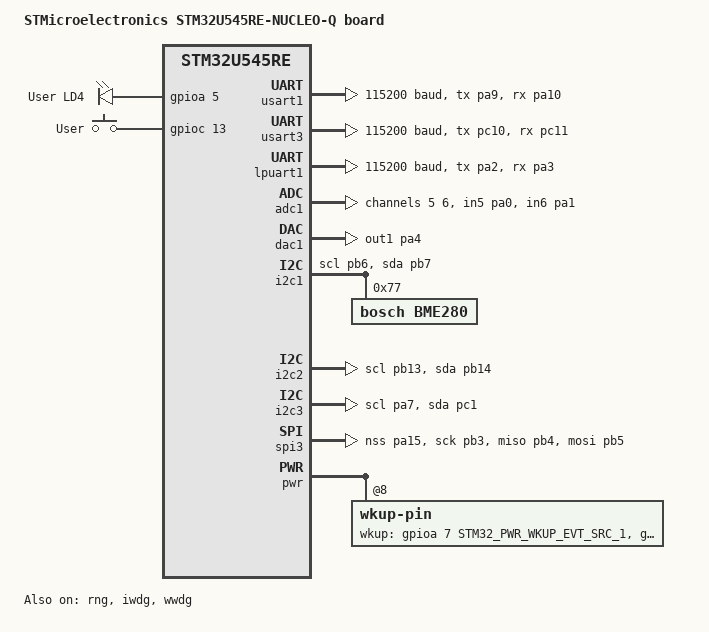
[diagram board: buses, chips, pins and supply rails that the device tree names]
/*
 * Copyright (c) 2025 STMicroelectronics
 *
 * SPDX-License-Identifier: Apache-2.0
 */

/dts-v1/;
#include <st/u5/stm32u545Xe.dtsi>
#include <st/u5/stm32u545retxq-pinctrl.dtsi>
#include "arduino_r3_connector.dtsi"
#include <zephyr/dt-bindings/input/input-event-codes.h>

/ {
	model = "STMicroelectronics STM32U545RE-NUCLEO-Q board";
	compatible = "st,stm32u545re-nucleo-q";

	oresat_demo: oresat-demo-enabled {}; // Enable demos for supported boards

	chosen {
		zephyr,console = &usart1;
		zephyr,shell-uart = &usart1;
		zephyr,sram = &sram0;
		zephyr,flash = &flash0;
		zephyr,code-partition = &slot0_partition;
	};

	leds: leds {
		compatible = "gpio-leds";

		green_led_2: led_2 {
			gpios = <&gpioa 5 GPIO_ACTIVE_HIGH>;
			label = "User LD4";
		};
	};

	gpio_keys {
		compatible = "gpio-keys";

		user_button: button {
			label = "User";
			gpios = <&gpioc 13 GPIO_ACTIVE_HIGH>;
			zephyr,code = <INPUT_KEY_0>;
		};
	};

	zephyr,user {
		dac = <&dac1>;
		dac_channel_id = <1>;
		dac_resolution = <12>;
	};

	aliases {
		dac0 = &dac1;
		adc0 = &adc1;
		i2c0 = &i2c1;
		led0 = &green_led_2;
		sw0 = &user_button;
		watchdog0 = &iwdg;
	};
};

&flash0 {
	partitions {
		compatible = "fixed-partitions";
		#address-cells = <1>;
		#size-cells = <1>;

		/*
		 * The following partitioning is dedicated to the use of nucleo_u545re_q
		 * with TZEN=0 (i.e., without TF-M).
		 * Place partitions within first 512 KiB to make use of the whole Bank1.
		 */
		boot_partition: partition@0 {
			label = "mcuboot";
			reg = <0x00000000 DT_SIZE_K(64)>;
		};

		slot0_partition: partition@10000 {
			label = "image-0";
			reg = <0x00010000 DT_SIZE_K(192)>;
		};

		slot1_partition: partition@40000 {
			label = "image-1";
			reg = <0x00040000 DT_SIZE_K(192)>;
		};

		storage_partition: partition@70000 {
			label = "storage";
			reg = <0x00070000 DT_SIZE_K(64)>;
		};
	};
};

&usart1 {
	pinctrl-0 = <&usart1_tx_pa9 &usart1_rx_pa10>;
	pinctrl-names = "default";
	current-speed = <115200>;
	status = "okay";
};

&usart3 {
	pinctrl-0 = <&usart3_tx_pc10 &usart3_rx_pc11>;
	pinctrl-names = "default";
	current-speed = <115200>;
	status = "okay";
};

&lpuart1 {
	pinctrl-0 = <&lpuart1_tx_pa2 &lpuart1_rx_pa3>;
	pinctrl-names = "default";
	current-speed = <115200>;
	status = "okay";
};

&clk_hsi {
	status = "okay";
};

&clk_lse {
	status = "okay";
};

&clk_msis {
	status = "okay";
	msi-pll-mode;
	msi-range = <0>; /* 48MHz (reset value) */
};

&pll1 {
	status = "okay";
	clocks = <&clk_msis>; /* src */
   div-m = <3>; /* 16 MHz max src freq */
   mul-n = <10>; /* generate 160 MHz */
   div-r = <1>;
};

&rcc {
	clocks = <&pll1>;
	clock-frequency = <DT_FREQ_M(160)>;
	ahb-prescaler = <1>;
	apb1-prescaler = <1>;
	apb2-prescaler = <1>;
	apb3-prescaler = <1>;
};

&clk_lsi {
	status = "okay";
};

&gpdma1 {
	status = "okay";
};

&adc1 {
	pinctrl-0 = <&adc1_in5_pa0 &adc1_in6_pa1>;
	pinctrl-names = "default";
	status = "okay";
	st,adc-prescaler = < 0x4 >;
	#address-cells = <1>;
	#size-cells = <0>;
	#dma-cells = <1>;
	dmas = <&gpdma1 1 0 (STM32_DMA_PERIPH_RX |
						STM32_DMA_PRIORITY_HIGH |
						STM32_DMA_PERIPH_16BITS |
						STM32_DMA_MEM_16BITS)>;
	dma-names = "adc1";

	adc1_5: channel@5 {
		reg = <5>;
		zephyr,gain = "ADC_GAIN_1";
		zephyr,reference = "ADC_REF_INTERNAL";
		zephyr,vref-mv = <3300>;
		zephyr,acquisition-time = <ADC_ACQ_TIME(ADC_ACQ_TIME_TICKS, 391)>;
		zephyr,resolution = <12>;
		zephyr,oversampling = <5>;
		/delete-property/ zephyr,differential;
	};
	adc1_6: channel@6 {
		reg = <6>;
		zephyr,gain = "ADC_GAIN_1";
		zephyr,reference = "ADC_REF_INTERNAL";
		zephyr,vref-mv = <3300>;
		zephyr,acquisition-time = <ADC_ACQ_TIME(ADC_ACQ_TIME_TICKS, 391)>;
		zephyr,resolution = <12>;
		zephyr,oversampling = <5>;
		/delete-property/ zephyr,differential;
	};
};

&dac1 {
	status = "okay";
	pinctrl-0 = <&dac1_out1_pa4>;
	pinctrl-names = "default";
};

&i2c1 {
	pinctrl-0 = <&i2c1_scl_pb6 &i2c1_sda_pb7>;
	pinctrl-names = "default";
	status = "okay";

	bme280: bme280@77 {
		compatible = "bosch,bme280";
		reg = <0x77>;
		status = "okay";
	};
};

&i2c2 {
	pinctrl-0 = <&i2c2_scl_pb13 &i2c2_sda_pb14>;
	pinctrl-names = "default";
	status = "okay";
};

&i2c3 {
	pinctrl-0 = <&i2c3_scl_pa7 &i2c3_sda_pc1>;
	pinctrl-names = "default";
	status = "okay";
};

&rng {
	status = "okay";
};

&spi3 {
	pinctrl-0 = <&spi3_nss_pa15 &spi3_sck_pb3
				&spi3_miso_pb4 &spi3_mosi_pb5>;
	pinctrl-names = "default";
	status = "okay";
};

&iwdg {
	status = "okay";
};

&wwdg {
	status = "okay";
};

&pwr {
	wkup-pin@8 {
		reg = <0x8>;
		wkup-gpios = <&gpioa 7 STM32_PWR_WKUP_EVT_SRC_1>,
					 <&gpiob 10 STM32_PWR_WKUP_EVT_SRC_2>;
	};
};
